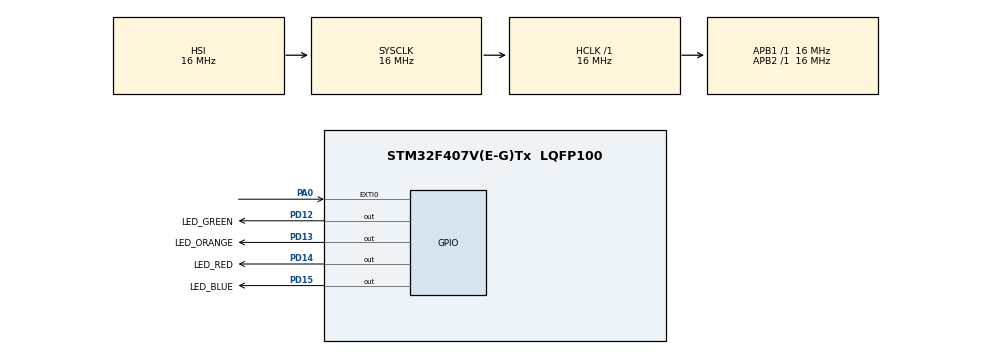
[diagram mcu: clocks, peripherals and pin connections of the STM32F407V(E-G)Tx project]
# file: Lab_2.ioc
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Mcu.Family=STM32F4
Mcu.Name=STM32F407V(E-G)Tx
Mcu.Package=LQFP100
NVIC.EXTI0_IRQn=true\:0\:0\:false\:false\:true\:true\:true\:true
NVIC.PriorityGroup=NVIC_PRIORITYGROUP_4
PA0-WKUP.Signal=GPXTI0
PD12.GPIO_Label=LED_GREEN
PD12.Signal=GPIO_Output
PD13.GPIO_Label=LED_ORANGE
PD13.Signal=GPIO_Output
PD14.GPIO_Label=LED_RED
PD14.Signal=GPIO_Output
PD15.GPIO_Label=LED_BLUE
PD15.Signal=GPIO_Output
ProjectManager.HeapSize=0x200
ProjectManager.StackSize=0x400
ProjectManager.TargetToolchain=STM32CubeIDE
RCC.AHBFreq_Value=16000000
RCC.APB1Freq_Value=16000000
RCC.APB2Freq_Value=16000000
RCC.CortexFreq_Value=16000000
RCC.HSE_VALUE=25000000
RCC.HSI_VALUE=16000000
RCC.LSE_VALUE=32768
RCC.SYSCLKFreq_VALUE=16000000
RCC.VCOOutputFreq_Value=192000000
board=custom

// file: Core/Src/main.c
/* USER CODE BEGIN Header */
/**
  ******************************************************************************
  * @file           : main.c
  * @brief          : Main program body
  ******************************************************************************
  * @attention
  *
  * Copyright (c) 2023 STMicroelectronics.
  * All rights reserved.
  *
  * This software is licensed under terms that can be found in the LICENSE file
  * in the root directory of this software component.
  * If no LICENSE file comes with this software, it is provided AS-IS.
  *
  ******************************************************************************
  */
/* USER CODE END Header */
#include "main.h"

/* USER CODE BEGIN PD */
#define SWITCH_DELAY (500) // Затримка між перемиканнями
/* USER CODE END PD */

/* USER CODE BEGIN PV */
unsigned int mode = 0; // Змінна для зберігання поточного режиму блимання
/* USER CODE END PV */

void SystemClock_Config(void);
static void MX_GPIO_Init(void);
/* USER CODE BEGIN PFP */
void blink_mode_0(void);
void blink_mode_1(void);
void blink_mode_2(void);
void blink_mode_3(void);
/* USER CODE END PFP */

int main(void)
{

  /* MCU Configuration--------------------------------------------------------*/

  /* Reset of all peripherals, Initializes the Flash interface and the Systick. */
  HAL_Init();

  /* Configure the system clock */
  SystemClock_Config();

  /* Initialize all configured peripherals */
  MX_GPIO_Init();

  /* Infinite loop */
  /* USER CODE BEGIN WHILE */
  while (1)
  {
    switch (mode) {
      case 0:
        blink_mode_0();
        break;
      case 1:
        blink_mode_1();
        break;
      case 2:
        blink_mode_2();
        break;
      case 3:
        blink_mode_3();
        break;
      default:
        mode = 0;
        break;
    }
    /* USER CODE END WHILE */

  }
}

void SystemClock_Config(void)
{
  RCC_OscInitTypeDef RCC_OscInitStruct = {0};
  RCC_ClkInitTypeDef RCC_ClkInitStruct = {0};

  /** Configure the main internal regulator output voltage
  */
  __HAL_RCC_PWR_CLK_ENABLE();
  __HAL_PWR_VOLTAGESCALING_CONFIG(PWR_REGULATOR_VOLTAGE_SCALE1);

  /** Initializes the RCC Oscillators according to the specified parameters
  * in the RCC_OscInitTypeDef structure.
  */
  RCC_OscInitStruct.OscillatorType = RCC_OSCILLATORTYPE_HSI;
  RCC_OscInitStruct.HSIState = RCC_HSI_ON;
  RCC_OscInitStruct.HSICalibrationValue = RCC_HSICALIBRATION_DEFAULT;
  RCC_OscInitStruct.PLL.PLLState = RCC_PLL_NONE;
  if (HAL_RCC_OscConfig(&RCC_OscInitStruct) != HAL_OK)
  {
    Error_Handler();
  }

  /** Initializes the CPU, AHB and APB buses clocks
  */
  RCC_ClkInitStruct.ClockType = RCC_CLOCKTYPE_HCLK|RCC_CLOCKTYPE_SYSCLK
                              |RCC_CLOCKTYPE_PCLK1|RCC_CLOCKTYPE_PCLK2;
  RCC_ClkInitStruct.SYSCLKSource = RCC_SYSCLKSOURCE_HSI;
  RCC_ClkInitStruct.AHBCLKDivider = RCC_SYSCLK_DIV1;
  RCC_ClkInitStruct.APB1CLKDivider = RCC_HCLK_DIV1;
  RCC_ClkInitStruct.APB2CLKDivider = RCC_HCLK_DIV1;

  if (HAL_RCC_ClockConfig(&RCC_ClkInitStruct, FLASH_LATENCY_0) != HAL_OK)
  {
    Error_Handler();
  }
}

static void MX_GPIO_Init(void)
{
  GPIO_InitTypeDef GPIO_InitStruct = {0};

  /* GPIO Ports Clock Enable */
  __HAL_RCC_GPIOA_CLK_ENABLE();
  __HAL_RCC_GPIOD_CLK_ENABLE();

  /*Configure GPIO pin Output Level */
  HAL_GPIO_WritePin(GPIOD, GPIO_PIN_12 | GPIO_PIN_13 | GPIO_PIN_14 | GPIO_PIN_15, GPIO_PIN_RESET);

  /*Configure GPIO pin : PA0 */
  GPIO_InitStruct.Pin = GPIO_PIN_0;
  GPIO_InitStruct.Mode = GPIO_MODE_IT_RISING;
  GPIO_InitStruct.Pull = GPIO_NOPULL;
  HAL_GPIO_Init(GPIOA, &GPIO_InitStruct);

  /* EXTI interrupt init*/
  HAL_NVIC_SetPriority(EXTI0_IRQn, 0, 0);
  HAL_NVIC_EnableIRQ(EXTI0_IRQn);

  /*Configure GPIO pins : PD12 PD13 PD14 PD15 */
  GPIO_InitStruct.Pin = GPIO_PIN_12 | GPIO_PIN_13 | GPIO_PIN_14 | GPIO_PIN_15;
  GPIO_InitStruct.Mode = GPIO_MODE_OUTPUT_PP;
  GPIO_InitStruct.Pull = GPIO_NOPULL;
  GPIO_InitStruct.Speed = GPIO_SPEED_FREQ_LOW;
  HAL_GPIO_Init(GPIOD, &GPIO_InitStruct);
}

/* USER CODE BEGIN 4 */
/* Обробник переривання кнопки */
void HAL_GPIO_EXTI_Callback(uint16_t GPIO_Pin) {
  if (GPIO_Pin == GPIO_PIN_0) {
    mode++;
    if (mode > 3) {
      mode = 0;
    }
  }
}

/* Алгоритм блимання всіма світлодіодами */
void blink_mode_0(void) {
  HAL_GPIO_TogglePin(GPIOD, GPIO_PIN_12 | GPIO_PIN_13 | GPIO_PIN_14 | GPIO_PIN_15);
  HAL_Delay(SWITCH_DELAY);
}

/* Послідовне блимання */
void blink_mode_1(void) {
  HAL_GPIO_WritePin(GPIOD, GPIO_PIN_12, GPIO_PIN_SET);
  HAL_Delay(SWITCH_DELAY);
  HAL_GPIO_WritePin(GPIOD, GPIO_PIN_12, GPIO_PIN_RESET);

  HAL_GPIO_WritePin(GPIOD, GPIO_PIN_13, GPIO_PIN_SET);
  HAL_Delay(SWITCH_DELAY);
  HAL_GPIO_WritePin(GPIOD, GPIO_PIN_13, GPIO_PIN_RESET);

  HAL_GPIO_WritePin(GPIOD, GPIO_PIN_14, GPIO_PIN_SET);
  HAL_Delay(SWITCH_DELAY);
  HAL_GPIO_WritePin(GPIOD, GPIO_PIN_14, GPIO_PIN_RESET);

  HAL_GPIO_WritePin(GPIOD, GPIO_PIN_15, GPIO_PIN_SET);
  HAL_Delay(SWITCH_DELAY);
  HAL_GPIO_WritePin(GPIOD, GPIO_PIN_15, GPIO_PIN_RESET);
}

/* Біжуче світло (зсув вправо) */
void blink_mode_2(void) {
  for (uint16_t pin = GPIO_PIN_12; pin <= GPIO_PIN_15; pin <<= 1) {
    HAL_GPIO_WritePin(GPIOD, pin, GPIO_PIN_SET);
    HAL_Delay(SWITCH_DELAY);
    HAL_GPIO_WritePin(GPIOD, pin, GPIO_PIN_RESET);
  }
}

/* "Поліцейська" мигалка */
void blink_mode_3(void) {
  HAL_GPIO_WritePin(GPIOD, GPIO_PIN_12 | GPIO_PIN_14, GPIO_PIN_SET);
  HAL_GPIO_WritePin(GPIOD, GPIO_PIN_13 | GPIO_PIN_15, GPIO_PIN_RESET);
  HAL_Delay(SWITCH_DELAY);

  HAL_GPIO_WritePin(GPIOD, GPIO_PIN_12 | GPIO_PIN_14, GPIO_PIN_RESET);
  HAL_GPIO_WritePin(GPIOD, GPIO_PIN_13 | GPIO_PIN_15, GPIO_PIN_SET);
  HAL_Delay(SWITCH_DELAY);
}
/* USER CODE END 4 */

void Error_Handler(void)
{
  __disable_irq();
  while (1)
  {
  }
}
